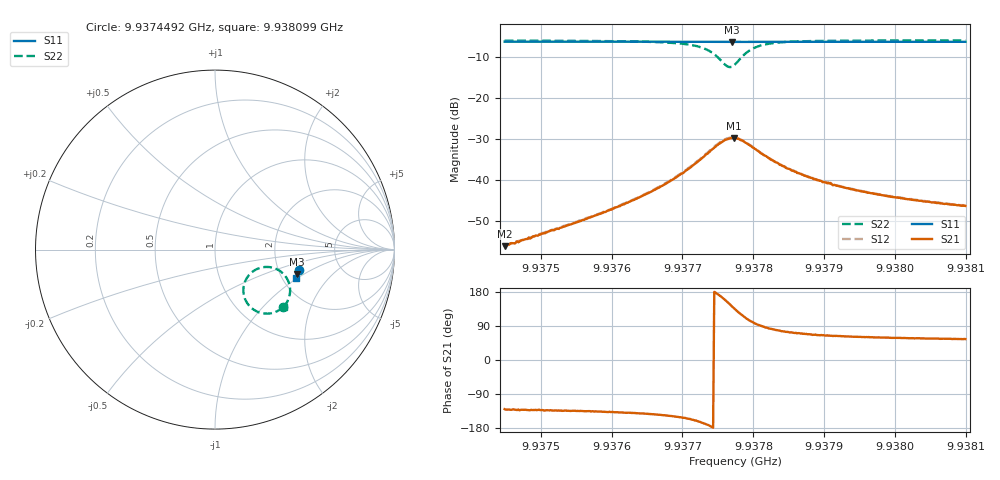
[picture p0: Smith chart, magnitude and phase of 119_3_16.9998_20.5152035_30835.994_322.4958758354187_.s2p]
#  HZ  S  RI  R  50.00
! Rohde & Schwarz Vector Network Analyzer
! Rohde-Schwarz,ZNB20-2Port,1311601062101988,3.16
! Created: UTC 3/20/2024, 10:57:22 PM
! freq[Hz]  re:S11  im:S11  re:S21  im:S21  re:S12  im:S12  re:S22  im:S22
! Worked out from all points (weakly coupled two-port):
!   401 points, 9.9374492 GHz to 9.938099 GHz, reference 50 ohm
!   highest |S21| = -29.75 dB at 9.9377725 GHz (marker M1); lowest = -56.0 dB at 9.9374492 GHz (marker M2)
!   lowest |S11| = -6.4 dB at 9.9377692 GHz (marker M3), VSWR 2.83, Z = 124 - j43.3 ohm
!   |S11| at or under -10 dB: nowhere
!   |S22| runs from -12.5 to -6.0 dB; largest |S21 - S12| = 0.0014
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9.93744923e9  0.4688 -0.116  -0.00101 -0.00122  -0.00103 -0.00119  0.378 -0.3218
9.93755806e9  0.4662 -0.1235  -0.00228 -0.00231  -0.00237 -0.0023  0.3617 -0.3344
9.93760192e9  0.4651 -0.1265  -0.0033 -0.00306  -0.00343 -0.00302  0.3502 -0.3412
9.93763603e9  0.4643 -0.1288  -0.00464 -0.0038  -0.00474 -0.00379  0.3372 -0.3475
9.93766689e9  0.4633 -0.131  -0.00659 -0.00473  -0.00681 -0.00468  0.3182 -0.3533
9.93770262e9  0.462 -0.1335  -0.0112 -0.00576  -0.0116 -0.00567  0.278 -0.3564
9.93771887e9  0.4611 -0.1346  -0.0151 -0.0056  -0.0157 -0.00529  0.2464 -0.3501
9.93773186e9  0.4603 -0.1355  -0.0195 -0.00406  -0.0201 -0.00378  0.2124 -0.3325
9.93774323e9  0.4593 -0.1359  -0.0241 -0.00057  -0.0248 -2.07e-05  0.1791 -0.298
9.9377546e9  0.4585 -0.1359  -0.028 0.00643  -0.0286 0.00751  0.1583 -0.2345
9.93776272e9  0.4581 -0.1355  -0.0281 0.0138  -0.0284 0.0151  0.1683 -0.1759
9.93776922e9  0.4581 -0.1352  -0.0256 0.0197  -0.0255 0.021  0.1978 -0.1332
9.93777247e9  0.4582 -0.1351  -0.0238 0.0222  -0.0234 0.0233  0.2185 -0.1168
9.93777409e9  0.4583 -0.135  -0.0226 0.0232  -0.0219 0.0244  0.2296 -0.1103
9.93778221e9  0.4587 -0.135  -0.0157 0.0264  -0.0149 0.0274  0.2885 -0.0966
9.93779196e9  0.4595 -0.1355  -0.00825 0.0264  -0.0074 0.0268  0.3465 -0.1101
9.93780983e9  0.4601 -0.1371  -0.000339 0.0215  0.000378 0.0217  0.4004 -0.1606
9.93784556e9  0.4599 -0.1402  0.00384 0.0136  0.00416 0.0138  0.4186 -0.2298
9.93788292e9  0.4592 -0.1431  0.00427 0.00972  0.00442 0.00966  0.4135 -0.2637
9.93793165e9  0.4579 -0.1464  0.00373 0.00708  0.00388 0.00708  0.4046 -0.2862
9.93799175e9  0.4565 -0.1506  0.00328 0.00546  0.00342 0.00541  0.3959 -0.3014
9.93809895e9  0.4537 -0.1576  0.00277 0.00399  0.00287 0.00398  0.3847 -0.3173
